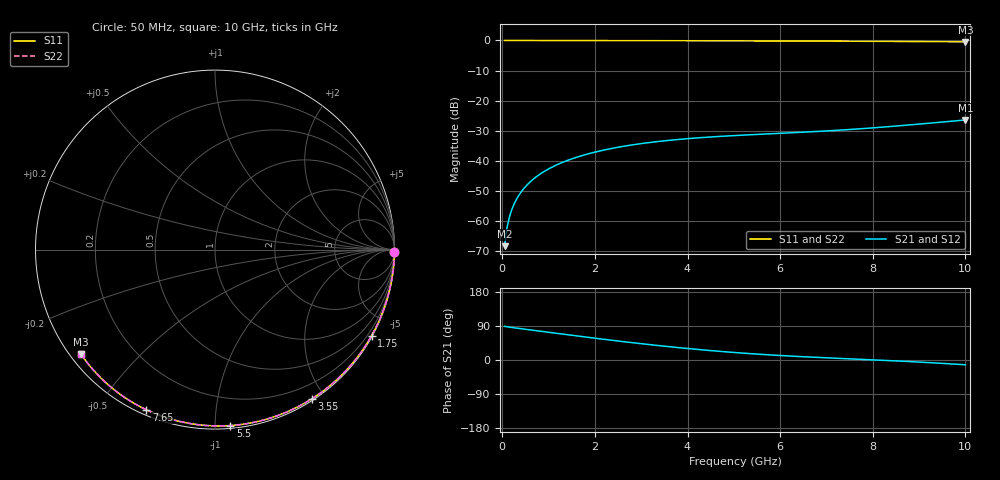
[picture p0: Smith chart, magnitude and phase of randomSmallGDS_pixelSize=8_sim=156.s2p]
! freq	dB(S11)	phase(S11)	dB(S12)	phase(S12)
!  dB(S21)	phase(S21)	dB(S22)	phase(S22)
!S-par simulation data
#  GHz  S  DB  R 50
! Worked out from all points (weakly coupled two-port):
!   200 points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, 50 MHz to 10 GHz, reference 50 ohm
!   highest |S21| = -26.38 dB at 10 GHz (marker M1); lowest = -68.2 dB at 50 MHz (marker M2)
!   lowest |S11| = -0.5 dB at 10 GHz (marker M3), VSWR 36.71, Z = 1.52 - j17.2 ohm
!   |S11| at or under -10 dB: nowhere
!   |S22| runs from -0.5 to 0.0 dB; largest |S21 - S12| = 0
!   S11 on the Smith chart (normalised r, x): 50 MHz: open; 1.75 GHz: 0.03, -3.89; 3.55 GHz: 0.02, -1.84; 5.5 GHz: 0.02, -1.09; 7.65 GHz: 0.02, -0.66; 10 GHz: 0.03, -0.34
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0.05  -0.00 -0.8  -68.24 88.7  -68.24 88.7  -0.00 -0.8
0.1  -0.00 -1.7  -62.26 87.6  -62.26 87.6  -0.00 -1.7
0.15  -0.00 -2.5  -58.78 86.6  -58.78 86.6  -0.00 -2.5
0.2  -0.00 -3.4  -56.33 85.8  -56.33 85.8  -0.00 -3.4
0.25  -0.00 -4.2  -54.42 85.0  -54.42 85.0  -0.00 -4.2
0.35  -0.00 -5.9  -51.54 83.5  -51.54 83.5  -0.00 -5.9
0.5  -0.01 -8.4  -48.49 81.1  -48.49 81.1  -0.01 -8.4
0.7  -0.01 -11.7  -45.62 78.0  -45.62 78.0  -0.01 -11.7
1  -0.02 -16.6  -42.61 73.2  -42.61 73.2  -0.02 -16.6
1.35  -0.03 -22.3  -40.13 67.6  -40.13 67.6  -0.03 -22.3
1.75  -0.04 -28.8  -38.06 61.3  -38.06 61.3  -0.04 -28.8
2.5  -0.05 -40.8  -35.42 50.1  -35.42 50.1  -0.05 -40.8
3.4  -0.07 -54.7  -33.45 37.7  -33.45 37.7  -0.07 -54.7
3.55  -0.08 -56.9  -33.21 35.8  -33.21 35.8  -0.08 -56.9
4.3  -0.10 -68.0  -32.22 26.9  -32.22 26.9  -0.10 -68.0
5.05  -0.12 -78.7  -31.52 19.4  -31.52 19.4  -0.12 -78.7
5.5  -0.14 -85.0  -31.17 15.6  -31.17 15.6  -0.14 -85.0
6.7  -0.20 -101.0  -30.27 7.4  -30.27 7.4  -0.20 -101.0
7.65  -0.26 -113.1  -29.38 2.4  -29.38 2.4  -0.26 -113.1
8.35  -0.31 -121.9  -28.58 -1.5  -28.58 -1.5  -0.31 -121.9
9.2  -0.39 -132.3  -27.48 -6.8  -27.48 -6.8  -0.39 -132.3
10  -0.47 -142.0  -26.38 -12.6  -26.38 -12.6  -0.47 -142.0
